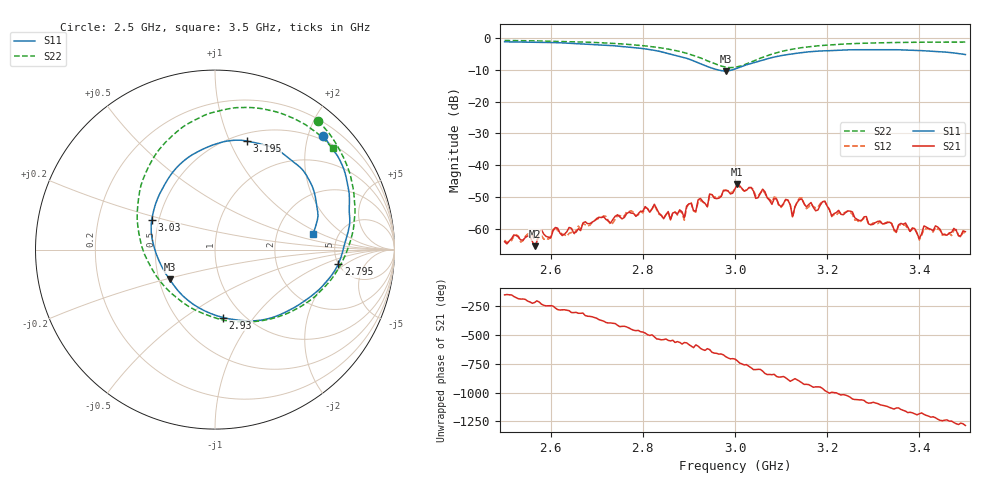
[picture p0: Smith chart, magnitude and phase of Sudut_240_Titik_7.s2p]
# Hz S RI R 50
! CMT, C1220, 16058040, 17.2.0/1
! Date: 15/08/2018 10:10:14
! Data: Format (Calibration Info)
! Freq  S11: Re/Im (F2)  S21: Re/Im (F2)  S12: Re/Im (F2)  S22: Re/Im (F2)
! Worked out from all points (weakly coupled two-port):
!   201 points, 2.5 GHz to 3.5 GHz, reference 50 ohm
!   highest |S21| = -46.05 dB at 3.005 GHz (marker M1); lowest = -65.5 dB at 2.565 GHz (marker M2)
!   lowest |S11| = -10.4 dB at 2.98 GHz (marker M3), VSWR 1.87, Z = 28.4 - j10.4 ohm
!   |S11| at or under -10 dB: 2.963 GHz to 2.994 GHz (31.4 MHz wide, 1.05 % of centre)
!   |S22| runs from -9.3 to -0.7 dB; largest |S21 - S12| = 0.00037
!   S11 on the Smith chart (normalised r, x): 2.5 GHz: 0.42, +2.25; 2.795 GHz: 4.98, -1.54; 2.93 GHz: 0.81, -0.72; 3.03 GHz: 0.46, +0.18; 3.195 GHz: 0.58, +1.16; 3.5 GHz: 3.24, +0.79
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2.5e9  0.6001 0.6357  -0.000567 -0.000254  -0.000603 -0.000267  0.5731 0.7169
2.565e9  0.6691 0.5421  -0.000394 0.000355  -0.000392 0.000525  0.6461 0.6335
2.58e9  0.6864 0.5154  -0.000529 0.000797  -0.000384 0.000681  0.6618 0.6102
2.67e9  0.7472 0.3147  0.000844 0.000895  0.000911 0.000782  0.7448 0.4426
2.795e9  0.6866 -0.0808  -0.000776 -0.00171  -0.000784 -0.0017  0.7629 0.0789
2.835e9  0.5797 -0.223  -0.00175 -2.64e-05  -0.00169 -7.28e-05  0.7042 -0.0761
2.89e9  0.3121 -0.381  -0.00131 0.000696  -0.0012 0.000632  0.5103 -0.2964
2.93e9  0.0454 -0.3784  -4.48e-05 0.00268  -0.000184 0.00261  0.2547 -0.3969
2.98e9  -0.253 -0.1658  0.00352 0.00198  0.00343 0.00204  -0.1425 -0.3194
3e9  -0.3246 -0.0319  0.00418 0.000682  0.00421 0.000491  -0.2779 -0.2092
3.005e9  -0.3359 0.00188  0.00496 -0.000497  0.00474 -0.000573  -0.307 -0.1748
3.03e9  -0.3528 0.1646  0.00264 -0.00351  0.00271 -0.00352  -0.4067 0.0133
3.115e9  -0.1032 0.5415  -0.00275 -0.000568  -0.00276 -0.000473  -0.2928 0.5788
3.125e9  -0.0639 0.5614  -0.00153 -0.000209  -0.00147 -0.00023  -0.254 0.6193
3.14e9  -0.00591 0.5849  -0.00287 0.000102  -0.00302 0.000134  -0.1958 0.6707
3.17e9  0.0973 0.6084  -0.00125 0.00176  -0.00139 0.00173  -0.0774 0.7397
3.195e9  0.1768 0.6045  -0.000304 0.00266  -0.000146 0.00271  0.0161 0.7711
3.21e9  0.2211 0.596  0.00021 0.00158  0.000329 0.00151  0.0704 0.7836
3.335e9  0.4911 0.4405  0.000836 -0.000952  0.000833 -0.001  0.4087 0.7437
3.4e9  0.5542 0.3159  -0.000163 -0.000676  -0.000215 -0.000628  0.5263 0.6798
3.41e9  0.5592 0.2927  -0.000358 -0.00104  -0.000297 -0.000934  0.5424 0.6685
3.5e9  0.5443 0.0853  -0.000812 0.000377  -0.000728 0.000379  0.6571 0.5637
